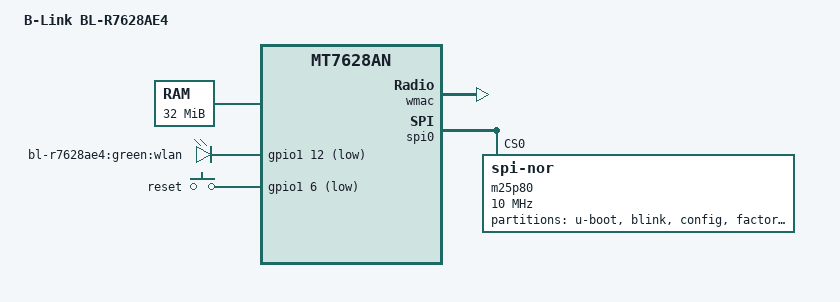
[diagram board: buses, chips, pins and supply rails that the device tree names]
/dts-v1/;

#include "mt7628an.dtsi"

#include <dt-bindings/gpio/gpio.h>
#include <dt-bindings/input/input.h>

/ {
	compatible = "b-link,bl-r7628ae4", "mediatek,mt7628an-soc";
	model = "B-Link BL-R7628AE4";

	memory@0 {
		device_type = "memory";
		reg = <0x0 0x2000000>;
	};

	gpio-leds {
		compatible = "gpio-leds";

		wlan {
			label = "bl-r7628ae4:green:wlan";
			gpios = <&gpio1 12 GPIO_ACTIVE_LOW>;
		};
	};

	gpio-keys {
		compatible = "gpio-keys-polled";
		#address-cells = <1>;
		#size-cells = <0>;
		poll-interval = <20>;

		reset {
			label = "reset";
			gpios = <&gpio1 6 GPIO_ACTIVE_LOW>;
			linux,code = <KEY_RESTART>;
		};
	};
};

&pinctrl {
	state_default: pinctrl0 {
		gpio {
			ralink,group = "wdt", "wled_an";
			ralink,function = "gpio";
		};
	};
};

&wmac {
	status = "okay";
	ralink,mtd-eeprom = <&factory 0x4>;
};

&ethernet {
	mtd-mac-address = <&factory 0x28>;
};

&spi0 {
	status = "okay";

	m25p80@0 {
		#address-cells = <1>;
		#size-cells = <1>;
		compatible = "jedec,spi-nor";
		reg = <0>;
		spi-max-frequency = <10000000>;
		m25p,chunked-io = <32>;

		partition@0 {
			label = "u-boot";
			reg = <0x0 0x20000>;
			read-only;
		};

		partition@20000 {
			label = "blink";
			reg = <0x20000 0x10000>;
			read-only;
		};

		partition@30000 {
			label = "config";
			reg = <0x30000 0x10000>;
			read-only;
		};

		factory: partition@40000 {
			label = "factory";
			reg = <0x40000 0x10000>;
			read-only;
		};

		partition@50000 {
			label = "firmware";
			reg = <0x50000 0x3b0000>;
		};
	};
};
